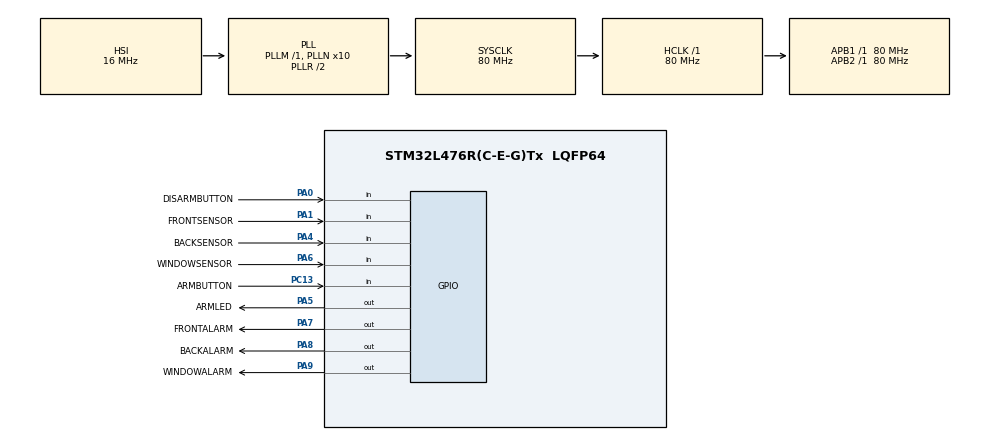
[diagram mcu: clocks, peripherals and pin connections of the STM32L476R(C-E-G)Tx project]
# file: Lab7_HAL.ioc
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Mcu.Family=STM32L4
Mcu.Name=STM32L476R(C-E-G)Tx
Mcu.Package=LQFP64
NVIC.PriorityGroup=NVIC_PRIORITYGROUP_4
PA0.GPIO_Label=DISARMBUTTON
PA0.GPIO_PuPd=GPIO_PULLUP
PA0.Signal=GPIO_Input
PA1.GPIO_Label=FRONTSENSOR
PA1.GPIO_PuPd=GPIO_PULLUP
PA1.Signal=GPIO_Input
PA13\ (JTMS-SWDIO).GPIO_Label=TMS
PA13\ (JTMS-SWDIO).Mode=Serial_Wire
PA13\ (JTMS-SWDIO).Signal=SYS_JTMS-SWDIO
PA14\ (JTCK-SWCLK).GPIO_Label=TCK
PA14\ (JTCK-SWCLK).Mode=Serial_Wire
PA14\ (JTCK-SWCLK).Signal=SYS_JTCK-SWCLK
PA4.GPIO_Label=BACKSENSOR
PA4.GPIO_PuPd=GPIO_PULLUP
PA4.Signal=GPIO_Input
PA5.GPIO_Label=ARMLED
PA5.GPIO_ModeDefaultOutputPP=GPIO_MODE_OUTPUT_PP
PA5.GPIO_PuPd=GPIO_NOPULL
PA5.GPIO_Speed=GPIO_SPEED_FREQ_LOW
PA5.Signal=GPIO_Output
PA6.GPIO_Label=WINDOWSENSOR
PA6.GPIO_PuPd=GPIO_PULLUP
PA6.Signal=GPIO_Input
PA7.GPIO_Label=FRONTALARM
PA7.Signal=GPIO_Output
PA8.GPIO_Label=BACKALARM
PA8.Signal=GPIO_Output
PA9.GPIO_Label=WINDOWALARM
PA9.Signal=GPIO_Output
PB3\ (JTDO-TRACESWO).GPIO_Label=SWO
PB3\ (JTDO-TRACESWO).Signal=SYS_JTDO-SWO
PC13.GPIO_Label=ARMBUTTON
PC13.Signal=GPIO_Input
PC14-OSC32_IN\ (PC14).Mode=LSE-External-Oscillator
PC14-OSC32_IN\ (PC14).Signal=RCC_OSC32_IN
PC15-OSC32_OUT\ (PC15).Mode=LSE-External-Oscillator
PC15-OSC32_OUT\ (PC15).Signal=RCC_OSC32_OUT
PH0-OSC_IN\ (PH0).Signal=RCC_OSC_IN
PH1-OSC_OUT\ (PH1).Signal=RCC_OSC_OUT
ProjectManager.HeapSize=0x200
ProjectManager.StackSize=0x400
ProjectManager.TargetToolchain=STM32CubeIDE
RCC.ADCFreq_Value=64000000
RCC.AHBFreq_Value=80000000
RCC.APB1Freq_Value=80000000
RCC.APB1TimFreq_Value=80000000
RCC.APB2Freq_Value=80000000
RCC.APB2TimFreq_Value=80000000
RCC.CortexFreq_Value=80000000
RCC.HCLKFreq_Value=80000000
RCC.HSE_VALUE=8000000
RCC.HSI_VALUE=16000000
RCC.MSI_VALUE=4000000
RCC.PLLN=10
RCC.PLLSourceVirtual=RCC_PLLSOURCE_HSI
RCC.PREFETCH_ENABLE=1
RCC.SYSCLKFreq_VALUE=80000000
RCC.SYSCLKSource=RCC_SYSCLKSOURCE_PLLCLK
RCC.USBFreq_Value=64000000
RCC.VCOOutputFreq_Value=160000000
board=NUCLEO-L476RG

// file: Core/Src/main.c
/* USER CODE BEGIN Header */
/**
  ******************************************************************************
  * @file           : main.c
  * @brief          : Main program body
  ******************************************************************************
  * @attention
  *
  * Copyright (c) 2025 STMicroelectronics.
  * All rights reserved.
  *
  * This software is licensed under terms that can be found in the LICENSE file
  * in the root directory of this software component.
  * If no LICENSE file comes with this software, it is provided AS-IS.
  *
  ******************************************************************************
  */
/* USER CODE END Header */
#include "main.h"

void SystemClock_Config(void);
static void MX_GPIO_Init(void);

int main(void)
{

  /* MCU Configuration--------------------------------------------------------*/

  /* Reset of all peripherals, Initializes the Flash interface and the Systick. */
  HAL_Init();

  /* Configure the system clock */
  SystemClock_Config();

  /* Initialize all configured peripherals */
  MX_GPIO_Init();

  /* Infinite loop */
  /* USER CODE BEGIN WHILE */

  // armed state (initialize to disarm)
  int armed = 0;

  while (1)
  {
	  // check the status of the arm button
	  if (HAL_GPIO_ReadPin(ARMBUTTON_GPIO_Port, ARMBUTTON_Pin) == 0){ // if pushed
		  armed = 1; // arm the system
		  // button was pushed -> turn on LED
		  HAL_GPIO_WritePin(ARMLED_GPIO_Port, ARMLED_Pin, 1);
	  }

	  // check status of disarm button
	  if (HAL_GPIO_ReadPin(DISARMBUTTON_GPIO_Port, DISARMBUTTON_Pin) == 0) { // if pushed
		  armed = 0; // disarm the system
		  HAL_GPIO_WritePin(ARMLED_GPIO_Port, ARMLED_Pin, 0); //turn off armed LED
          HAL_GPIO_WritePin(FRONTALARM_GPIO_Port, FRONTALARM_Pin, 0); // turn off FrontAlarm LED
          HAL_GPIO_WritePin(BACKALARM_GPIO_Port, BACKALARM_Pin, 0); // turn off BackAlarm LED
          HAL_GPIO_WritePin(WINDOWALARM_GPIO_Port, WINDOWALARM_Pin, 0); // turn off WindowAlarm LED
	  }

		// if system is armed, check sensors
		if (armed){
		  // check the FrontSensor
		  if (HAL_GPIO_ReadPin(FRONTSENSOR_GPIO_Port, FRONTSENSOR_Pin) != 0){ // if reed is pulled away
			  // system armed & front door is open:
			  HAL_GPIO_WritePin(FRONTALARM_GPIO_Port, FRONTALARM_Pin, 1); // turn on FrontAlarm LED
		  }

		  // check the BackSensor
		  if (HAL_GPIO_ReadPin(BACKSENSOR_GPIO_Port, BACKSENSOR_Pin) != 0){ // if reed is pulled away
			  // system armed & back door is open:
			  HAL_GPIO_WritePin(BACKALARM_GPIO_Port, BACKALARM_Pin, 1); // turn off BackAlarm LED
		  }

		  // check the WindowSensor
		  if (HAL_GPIO_ReadPin(WINDOWSENSOR_GPIO_Port, WINDOWSENSOR_Pin) != 0){ // if reed is pulled away
			  // system armed & window is open:
			  HAL_GPIO_WritePin(WINDOWALARM_GPIO_Port, WINDOWALARM_Pin, 1); // turn on WindowAlarm LED
		  }
		}

    /* USER CODE END WHILE */

  }
}

void SystemClock_Config(void)
{
  RCC_OscInitTypeDef RCC_OscInitStruct = {0};
  RCC_ClkInitTypeDef RCC_ClkInitStruct = {0};

  /** Configure the main internal regulator output voltage
  */
  if (HAL_PWREx_ControlVoltageScaling(PWR_REGULATOR_VOLTAGE_SCALE1) != HAL_OK)
  {
    Error_Handler();
  }

  /** Initializes the RCC Oscillators according to the specified parameters
  * in the RCC_OscInitTypeDef structure.
  */
  RCC_OscInitStruct.OscillatorType = RCC_OSCILLATORTYPE_HSI;
  RCC_OscInitStruct.HSIState = RCC_HSI_ON;
  RCC_OscInitStruct.HSICalibrationValue = RCC_HSICALIBRATION_DEFAULT;
  RCC_OscInitStruct.PLL.PLLState = RCC_PLL_ON;
  RCC_OscInitStruct.PLL.PLLSource = RCC_PLLSOURCE_HSI;
  RCC_OscInitStruct.PLL.PLLM = 1;
  RCC_OscInitStruct.PLL.PLLN = 10;
  RCC_OscInitStruct.PLL.PLLP = RCC_PLLP_DIV7;
  RCC_OscInitStruct.PLL.PLLQ = RCC_PLLQ_DIV2;
  RCC_OscInitStruct.PLL.PLLR = RCC_PLLR_DIV2;
  if (HAL_RCC_OscConfig(&RCC_OscInitStruct) != HAL_OK)
  {
    Error_Handler();
  }

  /** Initializes the CPU, AHB and APB buses clocks
  */
  RCC_ClkInitStruct.ClockType = RCC_CLOCKTYPE_HCLK|RCC_CLOCKTYPE_SYSCLK
                              |RCC_CLOCKTYPE_PCLK1|RCC_CLOCKTYPE_PCLK2;
  RCC_ClkInitStruct.SYSCLKSource = RCC_SYSCLKSOURCE_PLLCLK;
  RCC_ClkInitStruct.AHBCLKDivider = RCC_SYSCLK_DIV1;
  RCC_ClkInitStruct.APB1CLKDivider = RCC_HCLK_DIV1;
  RCC_ClkInitStruct.APB2CLKDivider = RCC_HCLK_DIV1;

  if (HAL_RCC_ClockConfig(&RCC_ClkInitStruct, FLASH_LATENCY_4) != HAL_OK)
  {
    Error_Handler();
  }
}

static void MX_GPIO_Init(void)
{
  GPIO_InitTypeDef GPIO_InitStruct = {0};

  /* GPIO Ports Clock Enable */
  __HAL_RCC_GPIOC_CLK_ENABLE();
  __HAL_RCC_GPIOH_CLK_ENABLE();
  __HAL_RCC_GPIOA_CLK_ENABLE();
  __HAL_RCC_GPIOB_CLK_ENABLE();

  /*Configure GPIO pin Output Level */
  HAL_GPIO_WritePin(GPIOA, ARMLED_Pin|FRONTALARM_Pin|BACKALARM_Pin|WINDOWALARM_Pin, GPIO_PIN_RESET);

  /*Configure GPIO pin : ARMBUTTON_Pin */
  GPIO_InitStruct.Pin = ARMBUTTON_Pin;
  GPIO_InitStruct.Mode = GPIO_MODE_INPUT;
  GPIO_InitStruct.Pull = GPIO_NOPULL;
  HAL_GPIO_Init(ARMBUTTON_GPIO_Port, &GPIO_InitStruct);

  /*Configure GPIO pins : DISARMBUTTON_Pin FRONTSENSOR_Pin BACKSENSOR_Pin WINDOWSENSOR_Pin */
  GPIO_InitStruct.Pin = DISARMBUTTON_Pin|FRONTSENSOR_Pin|BACKSENSOR_Pin|WINDOWSENSOR_Pin;
  GPIO_InitStruct.Mode = GPIO_MODE_INPUT;
  GPIO_InitStruct.Pull = GPIO_PULLUP;
  HAL_GPIO_Init(GPIOA, &GPIO_InitStruct);

  /*Configure GPIO pins : ARMLED_Pin FRONTALARM_Pin BACKALARM_Pin WINDOWALARM_Pin */
  GPIO_InitStruct.Pin = ARMLED_Pin|FRONTALARM_Pin|BACKALARM_Pin|WINDOWALARM_Pin;
  GPIO_InitStruct.Mode = GPIO_MODE_OUTPUT_PP;
  GPIO_InitStruct.Pull = GPIO_NOPULL;
  GPIO_InitStruct.Speed = GPIO_SPEED_FREQ_LOW;
  HAL_GPIO_Init(GPIOA, &GPIO_InitStruct);

}

void Error_Handler(void)
{
  __disable_irq();
  while (1)
  {
  }
}
